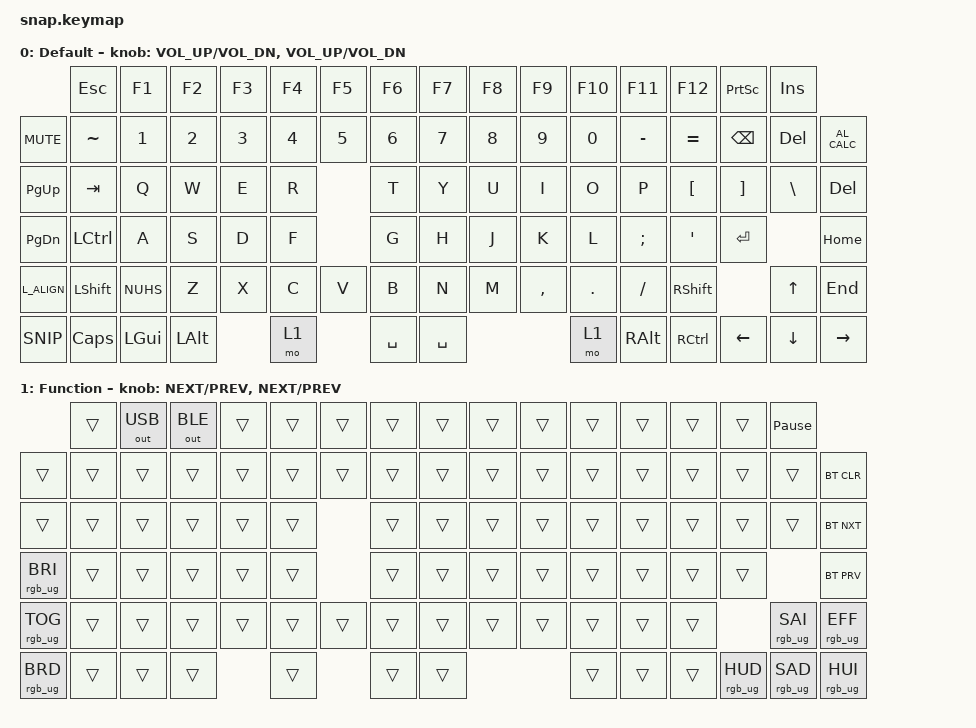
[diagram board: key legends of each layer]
/*
 * Copyright (c) 2022 The ZMK Contributors
 *
 * SPDX-License-Identifier: MIT
 */

#include <behaviors.dtsi>
#include <dt-bindings/zmk/bt.h>
#include <dt-bindings/zmk/outputs.h>
#include <dt-bindings/zmk/keys.h>
#include <dt-bindings/zmk/rgb.h>

/ {
	sensors {
		compatible = "zmk,keymap-sensors";
		sensors = <&left_encoder &right_encoder>;
	};
	macros {
        SNIP: SNIP {
            label = "SNIP";
            compatible = "zmk,behavior-macro";
            #binding-cells = <0>;
            bindings
                = <&macro_press &kp LSHFT &kp LGUI>
                , <&macro_tap &kp S>
		, <&macro_release &kp LGUI &kp LSHFT>
                ;
        };
	L_ALIGN: L_ALIGN {
            label = "L_ALIGN";
            compatible = "zmk,behavior-macro";
            #binding-cells = <0>;
            bindings
                = <&macro_press &kp LCTRL>
                , <&macro_tap &kp L>
		, <&macro_release &kp LCTRL>
                ;
        };
    };

	keymap {
		compatible = "zmk,keymap";

		default_layer {
			label = "Default";
			sensor-bindings = <&inc_dec_kp C_VOL_UP C_VOL_DN &inc_dec_kp C_VOL_UP C_VOL_DN>;
			bindings = <
             &kp ESC     &kp F1   &kp F2   &kp F3   &kp F4   &kp F5   &kp F6     &kp F7   &kp F8   &kp F9    &kp F10  &kp F11     &kp F12     &kp PSCRN    &kp INS
&kp C_MUTE   &kp TILDE   &kp N1   &kp N2   &kp N3   &kp N4   &kp N5   &kp N6     &kp N7   &kp N8   &kp N9    &kp N0   &kp MINUS   &kp EQUAL   &kp BSPC     &kp DEL    &kp C_AL_CALC
&kp PG_UP    &kp TAB     &kp Q    &kp W    &kp E    &kp R             &kp T      &kp Y    &kp U    &kp I     &kp O    &kp P       &kp LBKT    &kp RBKT     &kp BSLH   &kp DEL
&kp PG_DN    &kp LCTRL    &kp A    &kp S    &kp D    &kp F             &kp G      &kp H    &kp J    &kp K     &kp L    &kp SEMI    &kp SQT     &kp RET                 &kp HOME
&L_ALIGN     &kp LSHFT   &kp NUHS &kp Z    &kp X    &kp C    &kp V    &kp B      &kp N    &kp M    &kp COMMA &kp DOT  &kp FSLH    &kp RSHFT                &kp UP     &kp END
&SNIP      &kp CLCK   &kp LGUI &kp LALT          &mo 1            &kp SPACE    &kp SPACE                   &mo 1    &kp RALT    &kp RCTRL   &kp LEFT     &kp DOWN   &kp RIGHT
			>;
		};

		function_layer {
			label = "Function";
			sensor-bindings = <&inc_dec_kp C_NEXT C_PREV &inc_dec_kp C_NEXT C_PREV>;
			bindings = <
             &trans &out OUT_USB &out OUT_BLE &trans   &trans   &trans   &trans     &trans   &trans   &trans   &trans    &trans      &trans      &trans       &kp PAUSE_BREAK
&trans          &trans      &trans   &trans   &trans   &trans   &trans   &trans     &trans   &trans   &trans   &trans    &trans      &trans      &trans       &trans     &bt BT_CLR
&trans       	&trans      &trans   &trans   &trans   &trans            &trans     &trans   &trans   &trans   &trans    &trans      &trans      &trans       &trans     &bt BT_NXT
&rgb_ug RGB_BRI &trans      &trans   &trans   &trans   &trans            &trans     &trans   &trans   &trans   &trans    &trans      &trans      &trans     		&bt BT_PRV
&rgb_ug RGB_TOG &trans      &trans   &trans   &trans   &trans   &trans   &trans     &trans   &trans   &trans   &trans    &trans      &trans 		      &rgb_ug RGB_SAI &rgb_ug RGB_EFF
&rgb_ug RGB_BRD &trans      &trans   &trans            &trans           &trans       &trans                    &trans    &trans      &trans    &rgb_ug RGB_HUD &rgb_ug RGB_SAD &rgb_ug RGB_HUI
			>;
		};
	};
};
